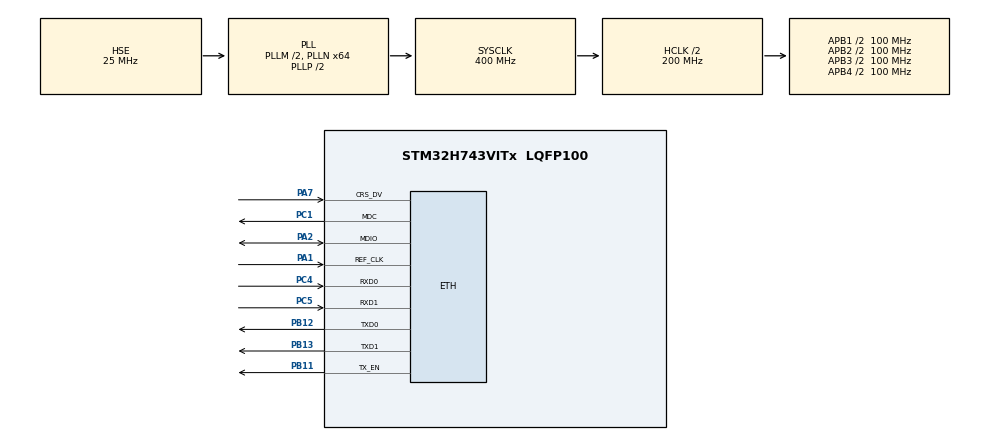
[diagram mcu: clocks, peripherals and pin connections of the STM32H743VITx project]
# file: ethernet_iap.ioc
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CORTEX_M7.AccessPermission-Cortex_Memory_Protection_Unit_Region1_Settings=MPU_REGION_FULL_ACCESS
CORTEX_M7.AccessPermission-Cortex_Memory_Protection_Unit_Region2_Settings=MPU_REGION_FULL_ACCESS
CORTEX_M7.BaseAddress-Cortex_Memory_Protection_Unit_Region1_Settings=0x30020000
CORTEX_M7.BaseAddress-Cortex_Memory_Protection_Unit_Region2_Settings=0x30040000
CORTEX_M7.BaseAddress_S-Cortex_Memory_Protection_Unit_Region1_Settings_S=0x30020000
CORTEX_M7.BaseAddress_S-Cortex_Memory_Protection_Unit_Region2_Settings_S=0x30040000
CORTEX_M7.CPU_DCache=Enabled
CORTEX_M7.CPU_ICache=Enabled
CORTEX_M7.DisableExec-Cortex_Memory_Protection_Unit_Region0_Settings=MPU_INSTRUCTION_ACCESS_DISABLE
CORTEX_M7.DisableExec-Cortex_Memory_Protection_Unit_Region1_Settings=MPU_INSTRUCTION_ACCESS_DISABLE
CORTEX_M7.DisableExec-Cortex_Memory_Protection_Unit_Region2_Settings=MPU_INSTRUCTION_ACCESS_DISABLE
CORTEX_M7.DisableExec_S-Cortex_Memory_Protection_Unit_Region1_Settings_S=MPU_INSTRUCTION_ACCESS_DISABLE
CORTEX_M7.DisableExec_S-Cortex_Memory_Protection_Unit_Region2_Settings_S=MPU_INSTRUCTION_ACCESS_DISABLE
CORTEX_M7.Enable-Cortex_Memory_Protection_Unit_Region0_Settings=MPU_REGION_ENABLE
CORTEX_M7.Enable-Cortex_Memory_Protection_Unit_Region1_Settings=MPU_REGION_ENABLE
CORTEX_M7.Enable-Cortex_Memory_Protection_Unit_Region2_Settings=MPU_REGION_ENABLE
CORTEX_M7.Enable_S-Cortex_Memory_Protection_Unit_Region1_Settings_S=MPU_REGION_ENABLE
CORTEX_M7.Enable_S-Cortex_Memory_Protection_Unit_Region2_Settings_S=MPU_REGION_ENABLE
CORTEX_M7.IsBufferable-Cortex_Memory_Protection_Unit_Region2_Settings=MPU_ACCESS_BUFFERABLE
CORTEX_M7.IsBufferable_S-Cortex_Memory_Protection_Unit_Region2_Settings_S=MPU_ACCESS_BUFFERABLE
CORTEX_M7.IsShareable-Cortex_Memory_Protection_Unit_Region0_Settings=MPU_ACCESS_SHAREABLE
CORTEX_M7.IsShareable-Cortex_Memory_Protection_Unit_Region2_Settings=MPU_ACCESS_SHAREABLE
CORTEX_M7.IsShareable_S-Cortex_Memory_Protection_Unit_Region2_Settings_S=MPU_ACCESS_SHAREABLE
CORTEX_M7.MPU_Control=MPU_PRIVILEGED_DEFAULT
CORTEX_M7.Size-Cortex_Memory_Protection_Unit_Region0_Settings=MPU_REGION_SIZE_4GB
CORTEX_M7.Size-Cortex_Memory_Protection_Unit_Region1_Settings=MPU_REGION_SIZE_128KB
CORTEX_M7.Size-Cortex_Memory_Protection_Unit_Region2_Settings=MPU_REGION_SIZE_512B
CORTEX_M7.Size_S-Cortex_Memory_Protection_Unit_Region1_Settings_S=MPU_REGION_SIZE_128KB
CORTEX_M7.Size_S-Cortex_Memory_Protection_Unit_Region2_Settings_S=MPU_REGION_SIZE_512B
CORTEX_M7.SubRegionDisable-Cortex_Memory_Protection_Unit_Region0_Settings=0x87
CORTEX_M7.TypeExtField-Cortex_Memory_Protection_Unit_Region1_Settings=MPU_TEX_LEVEL1
CORTEX_M7.TypeExtField_S-Cortex_Memory_Protection_Unit_Region1_Settings_S=MPU_TEX_LEVEL1
CORTEX_M7.default_mode_Activation=0
ETH.MediaInterface=HAL_ETH_RMII_MODE
LWIP.BSP.number=1
LWIP.IP_ADDRESS=192.168.001.010
LWIP.LWIP_DHCP=0
LWIP.LWIP_RAM_HEAP_POINTER=0x30020000
LWIP.MEM_SIZE=131048
LWIP.NETMASK_ADDRESS=255.255.255.000
LWIP.Version=v2.1.2_Cube
LWIP0.BSP.STBoard=false
LWIP0.BSP.api=BSP_COMPONENT_DRIVER
LWIP0.BSP.component=LAN8742
LWIP0.BSP.instance=LAN8742
LWIP0.BSP.name=Driver_PHY
LWIP0.BSP.semaphore=S_LAN8742
LWIP0.BSP.solution=LAN8742
Mcu.Family=STM32H7
Mcu.Name=STM32H743VITx
Mcu.Package=LQFP100
NVIC.PriorityGroup=NVIC_PRIORITYGROUP_4
NVIC.TIM6_DAC_IRQn=true\:15\:0\:false\:false\:true\:false\:true\:true
NVIC.TimeBase=TIM6_DAC_IRQn
NVIC.TimeBaseIP=TIM6
PA1.GPIO_Speed=GPIO_SPEED_FREQ_VERY_HIGH
PA1.Mode=RMII
PA1.Signal=ETH_REF_CLK
PA2.GPIO_Speed=GPIO_SPEED_FREQ_VERY_HIGH
PA2.Mode=RMII
PA2.Signal=ETH_MDIO
PA7.GPIO_Speed=GPIO_SPEED_FREQ_VERY_HIGH
PA7.Mode=RMII
PA7.Signal=ETH_CRS_DV
PB11.GPIO_Speed=GPIO_SPEED_FREQ_VERY_HIGH
PB11.Mode=RMII
PB11.Signal=ETH_TX_EN
PB12.GPIO_Speed=GPIO_SPEED_FREQ_VERY_HIGH
PB12.Mode=RMII
PB12.Signal=ETH_TXD0
PB13.GPIO_Speed=GPIO_SPEED_FREQ_VERY_HIGH
PB13.Mode=RMII
PB13.Signal=ETH_TXD1
PC1.GPIO_Speed=GPIO_SPEED_FREQ_VERY_HIGH
PC1.Mode=RMII
PC1.Signal=ETH_MDC
PC4.GPIO_Speed=GPIO_SPEED_FREQ_VERY_HIGH
PC4.Mode=RMII
PC4.Signal=ETH_RXD0
PC5.GPIO_Speed=GPIO_SPEED_FREQ_VERY_HIGH
PC5.Mode=RMII
PC5.Signal=ETH_RXD1
PH0-OSC_IN\ (PH0).Mode=HSE-External-Oscillator
PH0-OSC_IN\ (PH0).Signal=RCC_OSC_IN
PH1-OSC_OUT\ (PH1).Mode=HSE-External-Oscillator
PH1-OSC_OUT\ (PH1).Signal=RCC_OSC_OUT
ProjectManager.HeapSize=0x200
ProjectManager.StackSize=0x400
ProjectManager.TargetToolchain=STM32CubeIDE
RCC.ADCFreq_Value=50390625
RCC.APB1Freq_Value=100000000
RCC.APB2Freq_Value=100000000
RCC.APB3Freq_Value=100000000
RCC.APB4Freq_Value=100000000
RCC.CortexFreq_Value=400000000
RCC.D1PPRE=RCC_APB3_DIV2
RCC.D2PPRE1=RCC_APB1_DIV2
RCC.D2PPRE2=RCC_APB2_DIV2
RCC.D3PPRE=RCC_APB4_DIV2
RCC.DIVM1=2
RCC.DIVN1=64
RCC.HCLKFreq_Value=200000000
RCC.HPRE=RCC_HCLK_DIV2
RCC.PLLSourceVirtual=RCC_PLLSOURCE_HSE
RCC.SYSCLKFreq_VALUE=400000000
RCC.SYSCLKSource=RCC_SYSCLKSOURCE_PLLCLK
RCC.USBFreq_Value=400000000
VP_LWIP_VS_Enabled.Mode=Enabled
VP_SYS_VS_tim6.Mode=TIM6
board=custom

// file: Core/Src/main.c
/* USER CODE BEGIN Header */
/**
  ******************************************************************************
  * @file           : main.c
  * @brief          : Main program body
  ******************************************************************************
  * @attention
  *
  * Copyright (c) 2025 STMicroelectronics.
  * All rights reserved.
  *
  * This software is licensed under terms that can be found in the LICENSE file
  * in the root directory of this software component.
  * If no LICENSE file comes with this software, it is provided AS-IS.
  *
  ******************************************************************************
  */
/* USER CODE END Header */
#include "main.h"
#include "lwip.h"

/* USER CODE BEGIN Includes */
#include "lwip/udp.h"
#include "lwip/ip_addr.h"
#include "string.h"
/* USER CODE END Includes */

void SystemClock_Config(void);
static void MPU_Initialize(void);
static void MPU_Config(void);
static void MX_GPIO_Init(void);
/* USER CODE BEGIN PFP */
void udp_receive_callback(void *arg, struct udp_pcb *pcb, struct pbuf *p,
                          const ip_addr_t *addr, u16_t port);
void udp_server_init(void);
/* USER CODE END PFP */

int main(void)
{

  /* Enable I-Cache---------------------------------------------------------*/
  SCB_EnableICache();

  /* Enable D-Cache---------------------------------------------------------*/
  SCB_EnableDCache();

  /* MCU Configuration--------------------------------------------------------*/

  /* Reset of all peripherals, Initializes the Flash interface and the Systick. */
  HAL_Init();

  /* MPU Configuration--------------------------------------------------------*/
  MPU_Config();

  /* Configure the system clock */
  SystemClock_Config();

  /* Initialize all configured peripherals */
  MX_GPIO_Init();
  MX_LWIP_Init();
  /* USER CODE BEGIN 2 */
  udp_server_init();

  /* USER CODE END 2 */

  /* Infinite loop */
  /* USER CODE BEGIN WHILE */
  while (1)
  {
	 MX_LWIP_Process();
    /* USER CODE END WHILE */

  }
}

void SystemClock_Config(void)
{
  RCC_OscInitTypeDef RCC_OscInitStruct = {0};
  RCC_ClkInitTypeDef RCC_ClkInitStruct = {0};

  /** Supply configuration update enable
  */
  HAL_PWREx_ConfigSupply(PWR_LDO_SUPPLY);

  /** Configure the main internal regulator output voltage
  */
  __HAL_PWR_VOLTAGESCALING_CONFIG(PWR_REGULATOR_VOLTAGE_SCALE1);

  while(!__HAL_PWR_GET_FLAG(PWR_FLAG_VOSRDY)) {}

  /** Initializes the RCC Oscillators according to the specified parameters
  * in the RCC_OscInitTypeDef structure.
  */
  RCC_OscInitStruct.OscillatorType = RCC_OSCILLATORTYPE_HSE;
  RCC_OscInitStruct.HSEState = RCC_HSE_ON;
  RCC_OscInitStruct.PLL.PLLState = RCC_PLL_ON;
  RCC_OscInitStruct.PLL.PLLSource = RCC_PLLSOURCE_HSE;
  RCC_OscInitStruct.PLL.PLLM = 2;
  RCC_OscInitStruct.PLL.PLLN = 64;
  RCC_OscInitStruct.PLL.PLLP = 2;
  RCC_OscInitStruct.PLL.PLLQ = 2;
  RCC_OscInitStruct.PLL.PLLR = 2;
  RCC_OscInitStruct.PLL.PLLRGE = RCC_PLL1VCIRANGE_3;
  RCC_OscInitStruct.PLL.PLLVCOSEL = RCC_PLL1VCOWIDE;
  RCC_OscInitStruct.PLL.PLLFRACN = 0;
  if (HAL_RCC_OscConfig(&RCC_OscInitStruct) != HAL_OK)
  {
    Error_Handler();
  }

  /** Initializes the CPU, AHB and APB buses clocks
  */
  RCC_ClkInitStruct.ClockType = RCC_CLOCKTYPE_HCLK|RCC_CLOCKTYPE_SYSCLK
                              |RCC_CLOCKTYPE_PCLK1|RCC_CLOCKTYPE_PCLK2
                              |RCC_CLOCKTYPE_D3PCLK1|RCC_CLOCKTYPE_D1PCLK1;
  RCC_ClkInitStruct.SYSCLKSource = RCC_SYSCLKSOURCE_PLLCLK;
  RCC_ClkInitStruct.SYSCLKDivider = RCC_SYSCLK_DIV1;
  RCC_ClkInitStruct.AHBCLKDivider = RCC_HCLK_DIV2;
  RCC_ClkInitStruct.APB3CLKDivider = RCC_APB3_DIV2;
  RCC_ClkInitStruct.APB1CLKDivider = RCC_APB1_DIV2;
  RCC_ClkInitStruct.APB2CLKDivider = RCC_APB2_DIV2;
  RCC_ClkInitStruct.APB4CLKDivider = RCC_APB4_DIV2;

  if (HAL_RCC_ClockConfig(&RCC_ClkInitStruct, FLASH_LATENCY_2) != HAL_OK)
  {
    Error_Handler();
  }
}

static void MX_GPIO_Init(void)
{

  /* GPIO Ports Clock Enable */
  __HAL_RCC_GPIOH_CLK_ENABLE();
  __HAL_RCC_GPIOC_CLK_ENABLE();
  __HAL_RCC_GPIOA_CLK_ENABLE();
  __HAL_RCC_GPIOB_CLK_ENABLE();

}

/* USER CODE BEGIN 4 */
void udp_receive_callback(void *arg, struct udp_pcb *pcb, struct pbuf *p,
                          const ip_addr_t *addr, u16_t port)
{
    if (p != NULL) {

        const char *reply = "ACK from STM32";
        struct pbuf *resp = pbuf_alloc(PBUF_TRANSPORT, strlen(reply), PBUF_RAM);
        memcpy(resp->payload, reply, strlen(reply));
        udp_sendto(pcb, resp, addr, port);
        pbuf_free(resp);
        pbuf_free(p);
    }
}

void udp_server_init(void)
{
    struct udp_pcb *pcb = udp_new();
    if (pcb == NULL) {
        Error_Handler();
    }

    udp_bind(pcb, IP_ADDR_ANY, 1234);

    udp_recv(pcb, udp_receive_callback, NULL);
}

/* USER CODE END 4 */

/* MPU Configuration */

void MPU_Config(void)
{
  MPU_Region_InitTypeDef MPU_InitStruct = {0};

  /* Disables the MPU */
  HAL_MPU_Disable();

  /** Initializes and configures the Region and the memory to be protected
  */
  MPU_InitStruct.Enable = MPU_REGION_ENABLE;
  MPU_InitStruct.Number = MPU_REGION_NUMBER0;
  MPU_InitStruct.BaseAddress = 0x0;
  MPU_InitStruct.Size = MPU_REGION_SIZE_4GB;
  MPU_InitStruct.SubRegionDisable = 0x87;
  MPU_InitStruct.TypeExtField = MPU_TEX_LEVEL0;
  MPU_InitStruct.AccessPermission = MPU_REGION_NO_ACCESS;
  MPU_InitStruct.DisableExec = MPU_INSTRUCTION_ACCESS_DISABLE;
  MPU_InitStruct.IsShareable = MPU_ACCESS_SHAREABLE;
  MPU_InitStruct.IsCacheable = MPU_ACCESS_NOT_CACHEABLE;
  MPU_InitStruct.IsBufferable = MPU_ACCESS_NOT_BUFFERABLE;

  HAL_MPU_ConfigRegion(&MPU_InitStruct);

  /** Initializes and configures the Region and the memory to be protected
  */
  MPU_InitStruct.Number = MPU_REGION_NUMBER1;
  MPU_InitStruct.BaseAddress = 0x30020000;
  MPU_InitStruct.Size = MPU_REGION_SIZE_128KB;
  MPU_InitStruct.SubRegionDisable = 0x0;
  MPU_InitStruct.TypeExtField = MPU_TEX_LEVEL1;
  MPU_InitStruct.AccessPermission = MPU_REGION_FULL_ACCESS;
  MPU_InitStruct.IsShareable = MPU_ACCESS_NOT_SHAREABLE;

  HAL_MPU_ConfigRegion(&MPU_InitStruct);

  /** Initializes and configures the Region and the memory to be protected
  */
  MPU_InitStruct.Number = MPU_REGION_NUMBER2;
  MPU_InitStruct.BaseAddress = 0x30040000;
  MPU_InitStruct.Size = MPU_REGION_SIZE_512B;
  MPU_InitStruct.TypeExtField = MPU_TEX_LEVEL0;
  MPU_InitStruct.IsShareable = MPU_ACCESS_SHAREABLE;
  MPU_InitStruct.IsBufferable = MPU_ACCESS_BUFFERABLE;

  HAL_MPU_ConfigRegion(&MPU_InitStruct);
  /* Enables the MPU */
  HAL_MPU_Enable(MPU_PRIVILEGED_DEFAULT);

}

void HAL_TIM_PeriodElapsedCallback(TIM_HandleTypeDef *htim)
{
  if (htim->Instance == TIM6) {
    HAL_IncTick();
  }
}

void Error_Handler(void)
{
  __disable_irq();
  while (1)
  {
  }
}
